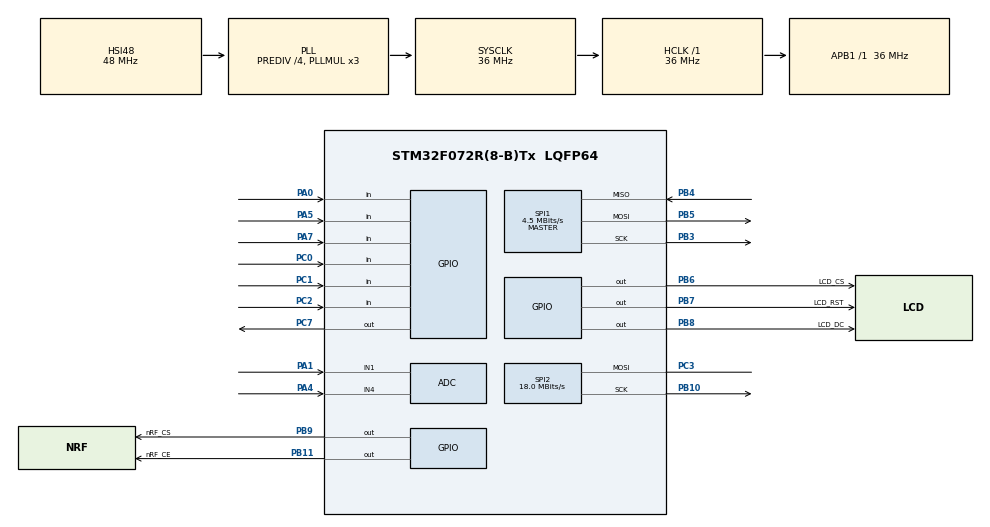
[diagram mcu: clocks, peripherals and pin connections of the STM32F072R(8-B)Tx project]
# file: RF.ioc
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ADC.ContinuousConvMode=ENABLE
ADC.SamplingTime=ADC_SAMPLETIME_239CYCLES_5
Dma.ADC.0.Direction=DMA_PERIPH_TO_MEMORY
Dma.ADC.0.Instance=DMA1_Channel1
Dma.ADC.0.MemDataAlignment=DMA_MDATAALIGN_WORD
Dma.ADC.0.MemInc=DMA_MINC_ENABLE
Dma.ADC.0.Mode=DMA_CIRCULAR
Dma.ADC.0.PeriphDataAlignment=DMA_PDATAALIGN_WORD
Dma.ADC.0.PeriphInc=DMA_PINC_DISABLE
Dma.ADC.0.Priority=DMA_PRIORITY_LOW
Dma.Request0=ADC
Mcu.Family=STM32F0
Mcu.Name=STM32F072R(8-B)Tx
Mcu.Package=LQFP64
NVIC.DMA1_Channel1_IRQn=true\:0\:0\:false\:false\:true\:false\:true\:true
PA0.Signal=GPIO_Input
PA1.Mode=IN1
PA1.Signal=ADC_IN1
PA4.Mode=IN4
PA4.Signal=ADC_IN4
PA5.Signal=GPIO_Input
PA7.Signal=GPIO_Input
PB10.Mode=Simplex_Bidirectional_Master
PB10.Signal=SPI2_SCK
PB11.GPIO_Label=nRF_CE
PB11.Signal=GPIO_Output
PB3.Mode=Full_Duplex_Master
PB3.Signal=SPI1_SCK
PB4.Mode=Full_Duplex_Master
PB4.Signal=SPI1_MISO
PB5.Mode=Full_Duplex_Master
PB5.Signal=SPI1_MOSI
PB6.GPIO_Label=LCD_CS
PB6.Signal=GPIO_Output
PB7.GPIO_Label=LCD_RST
PB7.Signal=GPIO_Output
PB8.GPIO_Label=LCD_DC
PB8.Signal=GPIO_Output
PB9.GPIO_Label=nRF_CS
PB9.Signal=GPIO_Output
PC0.Signal=GPIO_Input
PC1.Signal=GPIO_Input
PC2.Signal=GPIO_Input
PC3.Mode=Simplex_Bidirectional_Master
PC3.Signal=SPI2_MOSI
PC7.Signal=GPIO_Output
ProjectManager.HeapSize=0x200
ProjectManager.StackSize=0x400
ProjectManager.TargetToolchain=STM32CubeIDE
RCC.AHBFreq_Value=36000000
RCC.APB1Freq_Value=36000000
RCC.APB1TimFreq_Value=36000000
RCC.HCLKFreq_Value=36000000
RCC.PLLDivider=RCC_PREDIV_DIV4
RCC.PLLMUL=RCC_PLL_MUL3
RCC.PLLSourceVirtual=RCC_PLLSOURCE_HSI48
RCC.SYSCLKFreq_VALUE=36000000
RCC.SYSCLKSource=RCC_SYSCLKSOURCE_PLLCLK
SPI1.BaudRatePrescaler=SPI_BAUDRATEPRESCALER_8
SPI1.CalculateBaudRate=4.5 MBits/s
SPI1.DataSize=SPI_DATASIZE_8BIT
SPI1.Direction=SPI_DIRECTION_2LINES
SPI1.Mode=SPI_MODE_MASTER
SPI1.VirtualType=VM_MASTER
SPI2.CLKPhase=SPI_PHASE_2EDGE
SPI2.CLKPolarity=SPI_POLARITY_HIGH
SPI2.CalculateBaudRate=18.0 MBits/s
SPI2.DataSize=SPI_DATASIZE_8BIT
SPI2.Direction=SPI_DIRECTION_1LINE
SPI2.Mode=SPI_MODE_MASTER
SPI2.VirtualType=VM_MASTER
board=custom

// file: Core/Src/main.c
/* USER CODE BEGIN Header */
/**
  ******************************************************************************
  * @file           : main.c
  * @brief          : Main program body
  ******************************************************************************
  * @attention
  *
  * Copyright (c) 2023 STMicroelectronics.
  * All rights reserved.
  *
  * This software is licensed under terms that can be found in the LICENSE file
  * in the root directory of this software component.
  * If no LICENSE file comes with this software, it is provided AS-IS.
  *
  ******************************************************************************
  */
/* USER CODE END Header */
#include "main.h"

/* USER CODE BEGIN Includes */
#include "st7735.h"
#include "nRF24L01.h"
#include <stdio.h>
/* USER CODE END Includes */

ADC_HandleTypeDef hadc;
DMA_HandleTypeDef hdma_adc;

SPI_HandleTypeDef hspi1;
SPI_HandleTypeDef hspi2;

/* USER CODE BEGIN PV */
uint16_t adc1,ac2;
/* USER CODE END PV */

void SystemClock_Config(void);
static void MX_GPIO_Init(void);
static void MX_DMA_Init(void);
static void MX_SPI1_Init(void);
static void MX_SPI2_Init(void);
static void MX_ADC_Init(void);

/* USER CODE BEGIN 0 */
nRF24L01Set_t nrf={.pipe=PIPE_0,.pipe_addr=3169,.rf_channel=108,.rf_data_rate=_1_Mbps,.rf_power=_18_dBm,.current_primX=PRIM_PTX};
uint32_t joystick[2];
/* USER CODE END 0 */

int main(void)
{

  /* MCU Configuration--------------------------------------------------------*/

  /* Reset of all peripherals, Initializes the Flash interface and the Systick. */
  HAL_Init();

  /* Configure the system clock */
  SystemClock_Config();

  /* Initialize all configured peripherals */
  MX_GPIO_Init();
  MX_DMA_Init();
  MX_SPI1_Init();
  MX_SPI2_Init();
  MX_ADC_Init();
  /* USER CODE BEGIN 2 */
  ST7735_TFT_init(&hspi2);
  ST7735_TFT_setOrientation(TURN180_DEGREES);
  uint8_t prev_direction = 5, curr_direction = 5;
  ST7735_TFT_fillScreen(BLUE);
  nRF24L01_init(&hspi1, &nrf);

  /* USER CODE END 2 */

  /* Infinite loop */
  while (1)
  {

    /* USER CODE BEGIN 3 */
	  /*nRF24L01_listen();
	  if(nRF24L01_available()){
		  uint8_t pw = nRF24L01_getPayloadWidth();
		  uint8_t data[20] = {0};
		  nRF24L01_Receive(data, pw);
		  ST7735_TFT_Paint(0, 127, 0, 30, BLUE);

		  ST7735_TFT_writeString((char*)data, 5, 6, YELLOW, BLUE);
	  }
	  if(HAL_GPIO_ReadPin(GPIOA, GPIO_PIN_0)){
		  HAL_Delay(30);
		  while(HAL_GPIO_ReadPin(GPIOA, GPIO_PIN_0));

		  counter++;
		  char data[20] = {0};
		  sprintf(data,"counter : %2u\n",counter);
		  nRF24L01_Transmit((uint8_t*)data, 13);
	  }*/
	  /*nRF24L01_listen();
	  if(nRF24L01_available()){
		  uint8_t pw = nRF24L01_getPayloadWidth();
		  uint8_t data[20]={0};
		  nRF24L01_Receive(data, pw);
		  if(data[0]=='m' && data[2]=='r'){
			  ST7735_TFT_Paint(0, 127, 0, 30, BLUE);
			  ST7735_TFT_writeString((char*)data, 5, 6, YELLOW, BLUE);
			  sprintf((char*)data,"furkan%-3u",counter++);
			  nRF24L01_Transmit(data, 8);
		  }
	  }*/

	  HAL_ADC_Start_DMA(&hadc, joystick, 2);

	  if((joystick[0] == 0) && (joystick[1] < 4000 && joystick[1] > 0)){
		  curr_direction = 1;
	  }
	  else if((joystick[0] > 4000) && (joystick[1] < 4000 && joystick[1] > 0)){
		  curr_direction = 2;
	  }else if((joystick[1] == 0) && (joystick[0] < 4000 && joystick[0] > 0)){
		  curr_direction = 3;
	  }else if((joystick[1] > 4000) && (joystick[0] < 4000 && joystick[0] > 0)){
		  curr_direction = 4;
	  }else if((joystick[0] > 0 && joystick[0] < 4000) && (joystick[1] > 0 && joystick[1] < 4000)){
		  curr_direction = 5;
	  }

	  if(prev_direction != curr_direction){

		  prev_direction = curr_direction;
		  char line0[20],line1[20];
		  sprintf(line0,"J1 : %-4ld",joystick[0]);
		  sprintf(line1,"J2 : %-4ld",joystick[1]);
		  ST7735_TFT_Paint(0, 127, 0, 40, BLUE);
		  ST7735_TFT_writeString(line0, 5, 5, YELLOW, BLUE);
		  ST7735_TFT_writeString(line1, 5, 15, YELLOW, BLUE);
		  if(curr_direction == 1) ST7735_TFT_writeString("LEFT Direction", 5, 25, YELLOW, BLUE);
		  else if(curr_direction == 2) ST7735_TFT_writeString("RIGHT Direction", 5, 25, YELLOW, BLUE);
		  else if(curr_direction == 3) ST7735_TFT_writeString("BACKWARD Direct", 5, 25, YELLOW, BLUE);
		  else if(curr_direction == 4) ST7735_TFT_writeString("FORWARD  Direct", 5, 25, YELLOW, BLUE);
		  else if(curr_direction == 5) ST7735_TFT_writeString("    STOPPED", 5, 25, YELLOW, BLUE);
		  nRF24L01_Transmit(&curr_direction, 1);
		  nRF24L01_listen();
		  HAL_Delay(300);
	  }
  }
  /* USER CODE END 3 */
}

void SystemClock_Config(void)
{
  RCC_OscInitTypeDef RCC_OscInitStruct = {0};
  RCC_ClkInitTypeDef RCC_ClkInitStruct = {0};

  /** Initializes the RCC Oscillators according to the specified parameters
  * in the RCC_OscInitTypeDef structure.
  */
  RCC_OscInitStruct.OscillatorType = RCC_OSCILLATORTYPE_HSI14|RCC_OSCILLATORTYPE_HSI48;
  RCC_OscInitStruct.HSI48State = RCC_HSI48_ON;
  RCC_OscInitStruct.HSI14State = RCC_HSI14_ON;
  RCC_OscInitStruct.HSI14CalibrationValue = 16;
  RCC_OscInitStruct.PLL.PLLState = RCC_PLL_ON;
  RCC_OscInitStruct.PLL.PLLSource = RCC_PLLSOURCE_HSI48;
  RCC_OscInitStruct.PLL.PLLMUL = RCC_PLL_MUL3;
  RCC_OscInitStruct.PLL.PREDIV = RCC_PREDIV_DIV4;
  if (HAL_RCC_OscConfig(&RCC_OscInitStruct) != HAL_OK)
  {
    Error_Handler();
  }

  /** Initializes the CPU, AHB and APB buses clocks
  */
  RCC_ClkInitStruct.ClockType = RCC_CLOCKTYPE_HCLK|RCC_CLOCKTYPE_SYSCLK
                              |RCC_CLOCKTYPE_PCLK1;
  RCC_ClkInitStruct.SYSCLKSource = RCC_SYSCLKSOURCE_PLLCLK;
  RCC_ClkInitStruct.AHBCLKDivider = RCC_SYSCLK_DIV1;
  RCC_ClkInitStruct.APB1CLKDivider = RCC_HCLK_DIV1;

  if (HAL_RCC_ClockConfig(&RCC_ClkInitStruct, FLASH_LATENCY_1) != HAL_OK)
  {
    Error_Handler();
  }
}

static void MX_ADC_Init(void)
{

  ADC_ChannelConfTypeDef sConfig = {0};

  /** Configure the global features of the ADC (Clock, Resolution, Data Alignment and number of conversion)
  */
  hadc.Instance = ADC1;
  hadc.Init.ClockPrescaler = ADC_CLOCK_ASYNC_DIV1;
  hadc.Init.Resolution = ADC_RESOLUTION_12B;
  hadc.Init.DataAlign = ADC_DATAALIGN_RIGHT;
  hadc.Init.ScanConvMode = ADC_SCAN_DIRECTION_FORWARD;
  hadc.Init.EOCSelection = ADC_EOC_SINGLE_CONV;
  hadc.Init.LowPowerAutoWait = DISABLE;
  hadc.Init.LowPowerAutoPowerOff = DISABLE;
  hadc.Init.ContinuousConvMode = ENABLE;
  hadc.Init.DiscontinuousConvMode = DISABLE;
  hadc.Init.ExternalTrigConv = ADC_SOFTWARE_START;
  hadc.Init.ExternalTrigConvEdge = ADC_EXTERNALTRIGCONVEDGE_NONE;
  hadc.Init.DMAContinuousRequests = DISABLE;
  hadc.Init.Overrun = ADC_OVR_DATA_PRESERVED;
  if (HAL_ADC_Init(&hadc) != HAL_OK)
  {
    Error_Handler();
  }

  /** Configure for the selected ADC regular channel to be converted.
  */
  sConfig.Channel = ADC_CHANNEL_1;
  sConfig.Rank = ADC_RANK_CHANNEL_NUMBER;
  sConfig.SamplingTime = ADC_SAMPLETIME_239CYCLES_5;
  if (HAL_ADC_ConfigChannel(&hadc, &sConfig) != HAL_OK)
  {
    Error_Handler();
  }

  /** Configure for the selected ADC regular channel to be converted.
  */
  sConfig.Channel = ADC_CHANNEL_4;
  if (HAL_ADC_ConfigChannel(&hadc, &sConfig) != HAL_OK)
  {
    Error_Handler();
  }

}

static void MX_SPI1_Init(void)
{

  /* SPI1 parameter configuration*/
  hspi1.Instance = SPI1;
  hspi1.Init.Mode = SPI_MODE_MASTER;
  hspi1.Init.Direction = SPI_DIRECTION_2LINES;
  hspi1.Init.DataSize = SPI_DATASIZE_8BIT;
  hspi1.Init.CLKPolarity = SPI_POLARITY_LOW;
  hspi1.Init.CLKPhase = SPI_PHASE_1EDGE;
  hspi1.Init.NSS = SPI_NSS_SOFT;
  hspi1.Init.BaudRatePrescaler = SPI_BAUDRATEPRESCALER_8;
  hspi1.Init.FirstBit = SPI_FIRSTBIT_MSB;
  hspi1.Init.TIMode = SPI_TIMODE_DISABLE;
  hspi1.Init.CRCCalculation = SPI_CRCCALCULATION_DISABLE;
  hspi1.Init.CRCPolynomial = 7;
  hspi1.Init.CRCLength = SPI_CRC_LENGTH_DATASIZE;
  hspi1.Init.NSSPMode = SPI_NSS_PULSE_ENABLE;
  if (HAL_SPI_Init(&hspi1) != HAL_OK)
  {
    Error_Handler();
  }

}

static void MX_SPI2_Init(void)
{

  /* SPI2 parameter configuration*/
  hspi2.Instance = SPI2;
  hspi2.Init.Mode = SPI_MODE_MASTER;
  hspi2.Init.Direction = SPI_DIRECTION_1LINE;
  hspi2.Init.DataSize = SPI_DATASIZE_8BIT;
  hspi2.Init.CLKPolarity = SPI_POLARITY_HIGH;
  hspi2.Init.CLKPhase = SPI_PHASE_2EDGE;
  hspi2.Init.NSS = SPI_NSS_SOFT;
  hspi2.Init.BaudRatePrescaler = SPI_BAUDRATEPRESCALER_2;
  hspi2.Init.FirstBit = SPI_FIRSTBIT_MSB;
  hspi2.Init.TIMode = SPI_TIMODE_DISABLE;
  hspi2.Init.CRCCalculation = SPI_CRCCALCULATION_DISABLE;
  hspi2.Init.CRCPolynomial = 7;
  hspi2.Init.CRCLength = SPI_CRC_LENGTH_DATASIZE;
  hspi2.Init.NSSPMode = SPI_NSS_PULSE_DISABLE;
  if (HAL_SPI_Init(&hspi2) != HAL_OK)
  {
    Error_Handler();
  }

}

static void MX_DMA_Init(void)
{

  /* DMA controller clock enable */
  __HAL_RCC_DMA1_CLK_ENABLE();

  /* DMA interrupt init */
  /* DMA1_Channel1_IRQn interrupt configuration */
  HAL_NVIC_SetPriority(DMA1_Channel1_IRQn, 0, 0);
  HAL_NVIC_EnableIRQ(DMA1_Channel1_IRQn);

}

static void MX_GPIO_Init(void)
{
  GPIO_InitTypeDef GPIO_InitStruct = {0};

  /* GPIO Ports Clock Enable */
  __HAL_RCC_GPIOC_CLK_ENABLE();
  __HAL_RCC_GPIOA_CLK_ENABLE();
  __HAL_RCC_GPIOB_CLK_ENABLE();

  /*Configure GPIO pin Output Level */
  HAL_GPIO_WritePin(GPIOB, nRF_CE_Pin|LCD_CS_Pin|LCD_RST_Pin|LCD_DC_Pin
                          |nRF_CS_Pin, GPIO_PIN_RESET);

  /*Configure GPIO pin Output Level */
  HAL_GPIO_WritePin(GPIOC, GPIO_PIN_7, GPIO_PIN_RESET);

  /*Configure GPIO pins : PC0 PC1 PC2 */
  GPIO_InitStruct.Pin = GPIO_PIN_0|GPIO_PIN_1|GPIO_PIN_2;
  GPIO_InitStruct.Mode = GPIO_MODE_INPUT;
  GPIO_InitStruct.Pull = GPIO_NOPULL;
  HAL_GPIO_Init(GPIOC, &GPIO_InitStruct);

  /*Configure GPIO pins : PA0 PA5 PA7 */
  GPIO_InitStruct.Pin = GPIO_PIN_0|GPIO_PIN_5|GPIO_PIN_7;
  GPIO_InitStruct.Mode = GPIO_MODE_INPUT;
  GPIO_InitStruct.Pull = GPIO_NOPULL;
  HAL_GPIO_Init(GPIOA, &GPIO_InitStruct);

  /*Configure GPIO pins : nRF_CE_Pin LCD_CS_Pin LCD_RST_Pin LCD_DC_Pin
                           nRF_CS_Pin */
  GPIO_InitStruct.Pin = nRF_CE_Pin|LCD_CS_Pin|LCD_RST_Pin|LCD_DC_Pin
                          |nRF_CS_Pin;
  GPIO_InitStruct.Mode = GPIO_MODE_OUTPUT_PP;
  GPIO_InitStruct.Pull = GPIO_NOPULL;
  GPIO_InitStruct.Speed = GPIO_SPEED_FREQ_LOW;
  HAL_GPIO_Init(GPIOB, &GPIO_InitStruct);

  /*Configure GPIO pin : PC7 */
  GPIO_InitStruct.Pin = GPIO_PIN_7;
  GPIO_InitStruct.Mode = GPIO_MODE_OUTPUT_PP;
  GPIO_InitStruct.Pull = GPIO_NOPULL;
  GPIO_InitStruct.Speed = GPIO_SPEED_FREQ_LOW;
  HAL_GPIO_Init(GPIOC, &GPIO_InitStruct);

}

void Error_Handler(void)
{
  __disable_irq();
  while (1)
  {
  }
}
